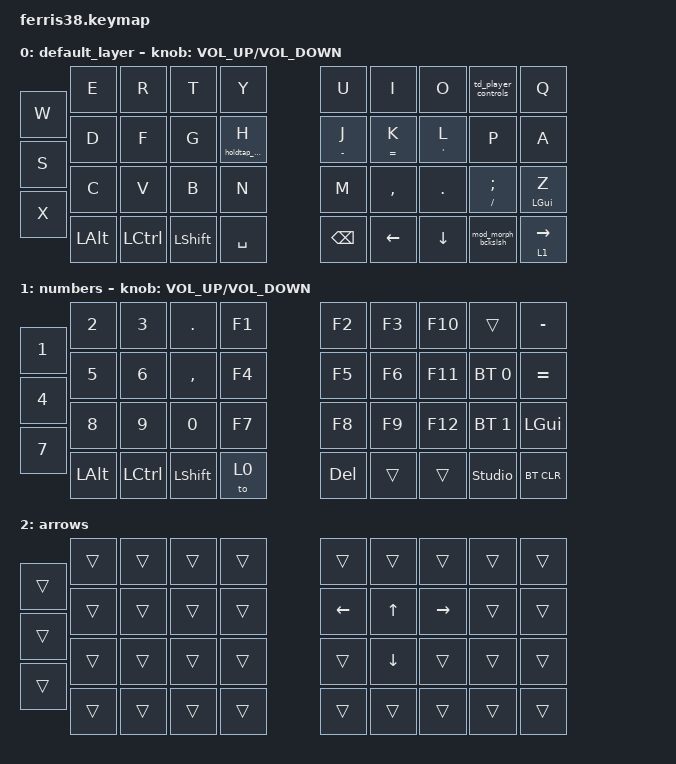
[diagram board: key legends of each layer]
#include <behaviors.dtsi>
#include <dt-bindings/zmk/bt.h>
#include <dt-bindings/zmk/keys.h>

#define DEFAULT 0

&sl { /delete-property/ quick-release; };

/ {
    combos {
        compatible = "zmk,combos";

        enter {
            bindings = <&kp RET>;
            key-positions = <34 35>;
        };

        sticky_numlayer {
            bindings = <&holdtap_sticky_layer 1 1>;
            key-positions = <32 33>;
            layers = <0>;
        };

        escape_combo {
            bindings = <&kp ESCAPE>;
            key-positions = <9 19>;
            layers = <0>;
        };

        tab_tilde_combo {
            bindings = <&mt GRAVE TAB>;
            key-positions = <9 10>;
        };

        arrows {
            bindings = <&tog 2>;
            key-positions = <38 28>;
        };
    };

    behaviors {
        tap_prefrerred_holdtap: tap_prefrerred_holdtap {
            compatible = "zmk,behavior-hold-tap";
            label = "TAP_PREFRERRED_HOLDTAP";
            bindings = <&kp>, <&kp>;

            #binding-cells = <2>;
            tapping-term-ms = <200>;
            flavor = "tap-preferred";
        };

        td_player_controls: td_player_controls {
            compatible = "zmk,behavior-tap-dance";
            label = "TD_PLAYER_CONTROLS";
            #binding-cells = <0>;
            bindings = <&kp C_PLAY_PAUSE>, <&kp C_NEXT>, <&kp C_PREVIOUS>;

            tapping-term-ms = <300>;
        };

        holdtap_playr_ctl_or_vlm_ctl: holdtap_playr_ctl_or_vlm_ctl {
            compatible = "zmk,behavior-hold-tap";
            label = "HOLDTAP_PLAYR_CTL_OR_VLM_CTL";
            bindings = <&mo>, <&td_player_controls>;

            #binding-cells = <2>;
            tapping-term-ms = <300>;
        };

        holdtap_sticky_layer: holdtap_sticky_layer {
            compatible = "zmk,behavior-hold-tap";
            label = "HOLDTAP_STICKY_LAYER";
            bindings = <&to>, <&sl>;

            #binding-cells = <2>;
            flavor = "tap-preferred";
            tapping-term-ms = <200>;
        };

        mod_morph_del: mod_morph_del {
            compatible = "zmk,behavior-mod-morph";
            label = "MOD_MORPH_DEL";
            bindings = <&kp RIGHT>, <&kp DELETE>;

            #binding-cells = <0>;
            mods = <(MOD_LCTL|MOD_LALT|MOD_LGUI|MOD_RCTL|MOD_RGUI|MOD_RALT)>;
            keep-mods = <(MOD_LSFT|MOD_RSFT)>;
        };

        mod_morph_bckslsh: mod_morph_bckslsh {
            compatible = "zmk,behavior-mod-morph";
            label = "MOD_MORPH_BCKSLSH";
            bindings = <&kp UP_ARROW>, <&kp BACKSLASH>;

            #binding-cells = <0>;
            mods = <(MOD_LCTL|MOD_LALT|MOD_LGUI|MOD_RCTL|MOD_RGUI|MOD_RALT)>;
            keep-mods = <(MOD_LSFT|MOD_RSFT)>;
        };

        nested_holdtap: nested_holdtap {
            compatible = "zmk,behavior-hold-tap";
            label = "NESTED_HOLDTAP";
            #binding-cells = <2>;
            tapping-term-ms = <200>;
            flavor = "tap-preferred";
            bindings = <&holdtap_macro>, <&kp>;
        };
    };

    macros {
        holdtap_macro: holdtap_macro {
            compatible = "zmk,behavior-macro";
            #binding-cells = <0>;
            bindings = <&tap_prefrerred_holdtap RIGHT_BRACKET LEFT_BRACKET>;
            label = "HOLDTAP_MACRO";
        };
    };

    keymap {
        compatible = "zmk,keymap";

        default_layer {
            bindings = <
                &kp W     &kp E      &kp R       &kp T        &kp Y                &kp U                            &kp I                            &kp O                                   &td_player_controls
&kp Q           &kp S     &kp D      &kp F       &kp G        &nested_holdtap 0 H  &tap_prefrerred_holdtap MINUS J  &tap_prefrerred_holdtap EQUAL K  &tap_prefrerred_holdtap SINGLE_QUOTE L  &kp P
&kp A           &kp X     &kp C      &kp V       &kp B        &kp N                &kp M                            &kp COMMA                        &kp DOT                                 &tap_prefrerred_holdtap FSLH SEMI
&mt LEFT_GUI Z  &kp LALT  &kp LCTRL  &kp LSHIFT  &kp SPACE    &kp BACKSPACE        &kp LEFT                         &kp DOWN                         &mod_morph_bckslsh                      &lt 1 RIGHT
            >;

            sensor-bindings = <&inc_dec_kp C_VOL_UP C_VOLUME_DOWN >;
        };

        numbers {
            bindings = <
              &kp N1        &kp N2            &kp N3          &kp DOT      &kp F1      &kp F2  &kp F3  &kp F10         &trans
&kp MINUS     &kp N4        &kp N5            &kp N6          &kp COMMA    &kp F4      &kp F5  &kp F6  &kp F11         &bt BT_SEL 0
&kp EQUAL     &kp N7        &kp N8            &kp N9          &kp N0       &kp F7      &kp F8  &kp F9  &kp F12         &bt BT_SEL 1
&kp LEFT_GUI  &kp LEFT_ALT  &kp LEFT_CONTROL  &kp LEFT_SHIFT  &to 0        &kp DELETE  &trans  &trans  &studio_unlock  &bt BT_CLR
            >;

            sensor-bindings = <&inc_dec_kp C_VOL_UP C_VOLUME_DOWN >;
        };

        arrows {
            bindings = <
        &trans  &trans  &trans  &trans    &trans  &trans    &trans          &trans     &trans
&trans  &trans  &trans  &trans  &trans    &trans  &kp LEFT  &kp UP_ARROW    &kp RIGHT  &trans
&trans  &trans  &trans  &trans  &trans    &trans  &trans    &kp DOWN_ARROW  &trans     &trans
&trans  &trans  &trans  &trans  &trans    &trans  &trans    &trans          &trans     &trans
            >;
        };
    };
};
